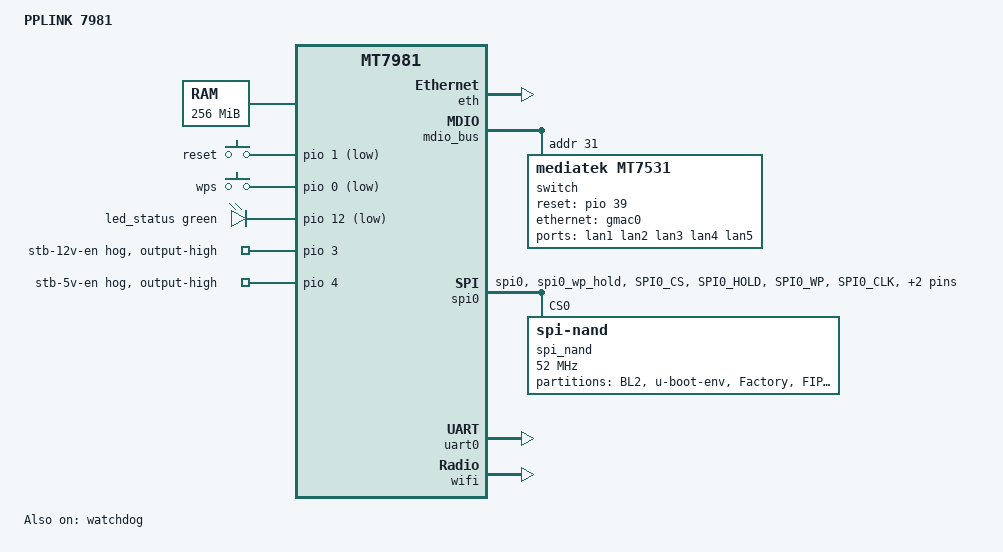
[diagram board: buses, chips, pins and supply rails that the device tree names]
// SPDX-License-Identifier: GPL-2.0-or-later OR MIT
/*
 * PPLINK 7981
 * MT7981B + 128MiB SPI-NAND (NMBM) + MT7531 + 256MiB DDR3
 *
 * 硬件事实来源：原厂固件提取的 DTB
 *   - NAND 分区: BL2 / u-boot-env / Factory / FIP / ubi / user
 *   - NMBM 参数沿用 MTK 驱动默认值（ratio=1, reserved=64），与原厂 generic,nmbm 一致
 *   - MT7531: MDIO addr 31, reset = GPIO39 高有效, port0-4 = lan1-lan5, port6 = CPU
 *   - WAN: gmac1 (gmii) + 内置 GbE PHY（mt7981.dtsi 的 int_gbe_phy, addr 0）
 *   - 按键: reset = GPIO1, wps = GPIO0（低有效）
 *   - 机顶盒供电: 12V = GPIO3 输出高, 5V = GPIO4 输出高
 *   - 面板 LED: GPIO12 低有效（拉低点亮）
 *
 * 重要：mdio_bus / int_gbe_phy / phy_calibration / eth / pio / spi0 / ubi 等
 * label 已在 mt7981.dtsi 中定义，本文件只能用 &label 引用扩展，绝不能重复定义，
 * 否则 dtc 报 duplicate_label FATAL，DTB 编不出来（曾导致 Makefile:1933 .modules Error 2）。
 *
 * UBI 布局：kernel(vol0) + rootfs(vol1) + rootfs_data(vol2)，与 MTK SDK 原厂一致，
 * 因此用 KERNEL_IN_UBI + sysupgrade-tar 配方，root 挂 /dev/ubiblock0_1。
 */

/dts-v1/;

#include <dt-bindings/gpio/gpio.h>
#include <dt-bindings/input/input.h>
#include <dt-bindings/leds/common.h>
#include <dt-bindings/interrupt-controller/irq.h>

#include "mt7981.dtsi"

/ {
	model = "PPLINK 7981";
	compatible = "pplink,7981", "mediatek,mt7981";

	aliases {
		serial0 = &uart0;
		led-boot = &led_status;
		led-failsafe = &led_status;
		led-running = &led_status;
		led-upgrade = &led_status;
	};

	chosen {
		/*
		 * 原厂 U-Boot 的 env 分区是空的（用编译进的默认环境），
		 * 且默认环境里没有 bootargs，所以这里的 cmdline 会真正生效。
		 * 原厂内核的 root= 是编进内核的，换成 OpenWrt 内核后必须自己给。
		 */
		bootargs = "console=ttyS0,115200n1 loglevel=7 earlycon=uart8250,mmio32,0x11002000 ubi.mtd=ubi ubi.block=0,rootfs root=/dev/ubiblock0_1 rootfstype=squashfs rootwait";
		stdout-path = "serial0:115200n8";
	};

	memory@40000000 {
		device_type = "memory";
		reg = <0 0x40000000 0 0x10000000>;
	};

	gpio-keys {
		compatible = "gpio-keys";

		key-reset {
			label = "reset";
			linux,code = <KEY_RESTART>;
			gpios = <&pio 1 GPIO_ACTIVE_LOW>;
		};

		key-wps {
			label = "wps";
			linux,code = <KEY_WPS_BUTTON>;
			gpios = <&pio 0 GPIO_ACTIVE_LOW>;
		};
	};

	gpio-leds {
		compatible = "gpio-leds";

		led_status: led-status {
			function = LED_FUNCTION_STATUS;
			color = <LED_COLOR_ID_GREEN>;
			gpios = <&pio 12 GPIO_ACTIVE_LOW>;
			default-state = "on";
		};
	};
};

&eth {
	status = "okay";

	gmac0: mac@0 {
		compatible = "mediatek,eth-mac";
		reg = <0>;
		phy-mode = "2500base-x";
		nvmem-cells = <&macaddr_factory_4>;
		nvmem-cell-names = "mac-address";

		fixed-link {
			speed = <2500>;
			full-duplex;
			pause;
		};
	};

	gmac1: mac@1 {
		compatible = "mediatek,eth-mac";
		reg = <1>;
		phy-mode = "gmii";
		/* mt7981.dtsi 已定义内置 GbE PHY（addr 0），这里直接引用 */
		phy-handle = <&int_gbe_phy>;
		nvmem-cells = <&macaddr_factory_2a>;
		nvmem-cell-names = "mac-address";
	};
};

/* mdio_bus 与 int_gbe_phy 已在 dtsi 内定义，这里只追加 switch */
&mdio_bus {
	switch: switch@1f {
		compatible = "mediatek,mt7531";
		reg = <31>;
		reset-gpios = <&pio 39 GPIO_ACTIVE_HIGH>;
	};
};

&switch {
	ports {
		#address-cells = <1>;
		#size-cells = <0>;

		port@0 {
			reg = <0>;
			label = "lan1";
		};

		port@1 {
			reg = <1>;
			label = "lan2";
		};

		port@2 {
			reg = <2>;
			label = "lan3";
		};

		port@3 {
			reg = <3>;
			label = "lan4";
		};

		port@4 {
			reg = <4>;
			label = "lan5";
		};

		port@6 {
			reg = <6>;
			ethernet = <&gmac0>;
			phy-mode = "2500base-x";

			fixed-link {
				speed = <2500>;
				full-duplex;
				pause;
			};
		};
	};
};

&pio {
	/*
	 * 机顶盒供电使能，pinctrl 初始化时立刻拉起，不等用户态。
	 */
	stb_12v: stb-12v {
		gpio-hog;
		gpios = <3 GPIO_ACTIVE_HIGH>;
		output-high;
		line-name = "stb-12v-en";
	};

	stb_5v: stb-5v {
		gpio-hog;
		gpios = <4 GPIO_ACTIVE_HIGH>;
		output-high;
		line-name = "stb-5v-en";
	};

	/* dtsi 未提供，NMBM 需要正确上拉，与官方 nmbm 变体写法一致 */
	spi0_flash_pins: spi0-flash-pins {
		mux {
			function = "spi";
			groups = "spi0", "spi0_wp_hold";
		};

		conf-pu {
			pins = "SPI0_CS", "SPI0_HOLD", "SPI0_WP";
			drive-strength = <8>;
			bias-pull-up = <MTK_PUPD_SET_R1R0_11>;
		};

		conf-pd {
			pins = "SPI0_CLK", "SPI0_MOSI", "SPI0_MISO";
			drive-strength = <8>;
			bias-pull-down = <MTK_PUPD_SET_R1R0_11>;
		};
	};
};

&spi0 {
	pinctrl-names = "default";
	pinctrl-0 = <&spi0_flash_pins>;
	status = "okay";

	spi_nand: spi_nand@0 {
		compatible = "spi-nand";
		#address-cells = <1>;
		#size-cells = <1>;
		reg = <0>;

		spi-max-frequency = <52000000>;
		spi-tx-bus-width = <4>;
		spi-rx-bus-width = <4>;

		/* NMBM：参数取 MTK 驱动默认值，与原厂 generic,nmbm 无参配置等价 */
		mediatek,nmbm;
		mediatek,bmt-max-ratio = <1>;
		mediatek,bmt-max-reserved-blocks = <64>;

		/* NMBM 需要 SPI NAND 校准（读 ID 页），官方 nmbm 变体标配 */
		spi-cal-enable;
		spi-cal-mode = "read-data";
		spi-cal-datalen = <7>;
		spi-cal-data = /bits/ 8 <0x53 0x50 0x49 0x4e 0x41 0x4e 0x44>;
		spi-cal-addrlen = <5>;
		spi-cal-addr = /bits/ 32 <0x0 0x0 0x0 0x0 0x0>;

		partitions {
			compatible = "fixed-partitions";
			#address-cells = <1>;
			#size-cells = <1>;

			partition@0 {
				label = "BL2";
				reg = <0x0 0x100000>;
				read-only;
			};

			partition@100000 {
				label = "u-boot-env";
				reg = <0x100000 0x80000>;
			};

			/*
			 * 只提取 MAC，不要在此定义 phy_calibration
			 * （该 label 已由 mt7981.dtsi 在 efuse@8dc 定义）
			 */
			factory: partition@180000 {
				label = "Factory";
				reg = <0x180000 0x200000>;
				read-only;

				nvmem-layout {
					compatible = "fixed-layout";
					#address-cells = <1>;
					#size-cells = <1>;

					macaddr_factory_4: macaddr@4 {
						reg = <0x4 0x6>;
					};

					macaddr_factory_2a: macaddr@2a {
						reg = <0x2a 0x6>;
					};
				};
			};

			partition@380000 {
				label = "FIP";
				reg = <0x380000 0x200000>;
				read-only;
			};

			/* 不写 volumes 子节点：由 sysupgrade-tar 建 kernel/rootfs 双卷 */
			ubi: partition@580000 {
				label = "ubi";
				reg = <0x580000 0x4000000>;
				compatible = "linux,ubi";
			};

			partition@4580000 {
				label = "user";
				reg = <0x4580000 0x80000>;
			};
		};
	};
};

&uart0 {
	status = "okay";
};

&watchdog {
	status = "okay";
};

&wifi {
	status = "okay";

	mediatek,mtd-eeprom = <&factory 0x0>;
};
